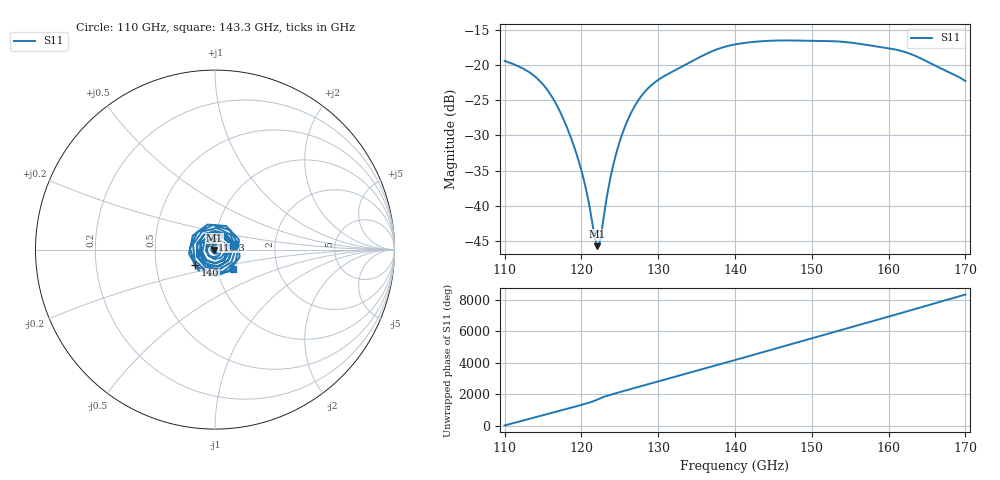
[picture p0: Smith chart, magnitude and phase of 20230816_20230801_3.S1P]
! C:\Users\Solidworker\Documents\VNA\mmiller\20230816\20230816_20230801_3.S1P
! Touchstone 1.1 file saved by VNA.EXE V1.65 (www.ke5fx.com/gpib/readme.htm)
! 8/16/2023 3:01:51 PM
!  Source: HP8510C.07.10: Mar 30  1995
!  Min freq: 1.100000E+011 Hz
!  Max freq: 1.700000E+011 Hz
!  Points: 201
!  Params: S11
# GHZ S MA R 50
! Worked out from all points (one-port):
!   201 points, 110 GHz to 170 GHz, reference 50 ohm
!   lowest |S11| = -45.8 dB at 122 GHz (marker M1), VSWR 1.01, Z = 49.5 - j0.229 ohm
!   |S11| at or under -10 dB: start of sweep to end of sweep
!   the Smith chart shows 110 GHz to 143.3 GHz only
!   S11 on the Smith chart (normalised r, x): 110 GHz: 1.23, +0.06; 116.3 GHz: 0.96, +0.11; 140 GHz: 0.79, -0.14; 143.3 GHz: 1.20, -0.26
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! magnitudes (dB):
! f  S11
! 110 GHz  -19.4
! 113.6 GHz  -21.3
! 115.1 GHz  -22.9
! 116.3 GHz  -24.7
! 117.5 GHz  -27.3
! 119 GHz  -31.4
! 120.2 GHz  -35.8
! 120.8 GHz  -38.7
! 121.7 GHz  -44.3
! 122 GHz  -45.8
! 122.3 GHz  -45.7
! 122.6 GHz  -43.9
! 123.2 GHz  -39.5
! 123.8 GHz  -35.9
! 124.4 GHz  -33.1
! 125 GHz  -30.8
! 125.6 GHz  -29.0
! 126.5 GHz  -26.7
! 128 GHz  -24.1
! 129.8 GHz  -22.2
! 132.5 GHz  -20.5
! 137 GHz  -18.0
! 140 GHz  -17.0
! 143.3 GHz  -16.6
! 147.5 GHz  -16.5
! 155 GHz  -16.8
! 162.5 GHz  -18.2
! 170 GHz  -22.3
